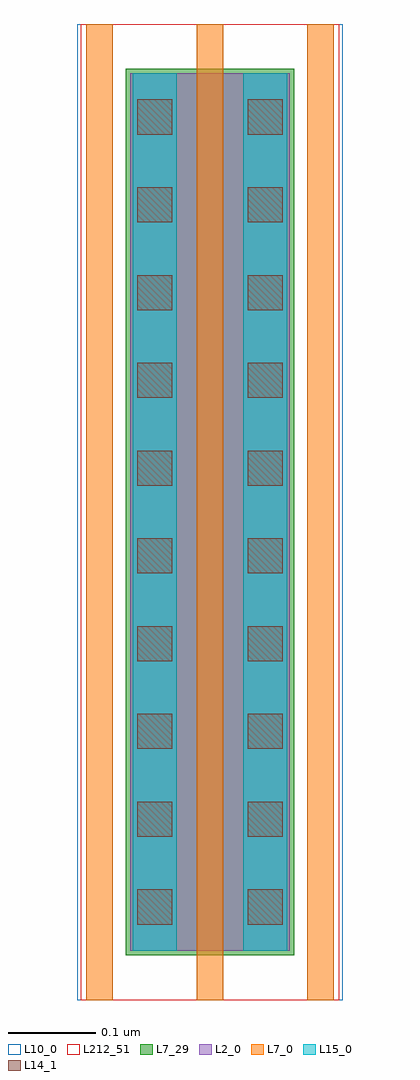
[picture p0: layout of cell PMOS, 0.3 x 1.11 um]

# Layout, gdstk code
import gdstk
lib = gdstk.Library(unit=1e-6, precision=1e-09)
def R(c, l, rs):  # rectangles x0, y0, x1, y1
    for r in rs: c.add(gdstk.rectangle(r[:2], r[2:], *l))
def A(c, l, x, y, w, h, nx, ny, dx, dy):  # array of equal rectangles
    R(c, l, [(x+i*dx, y+j*dy, x+i*dx+w, y+j*dy+h) for i in range(nx) for j in range(ny)])
L2_0 = (2, 0)
L7_0 = (7, 0)
L7_29 = (7, 29)
L10_0 = (10, 0)
L14_1 = (14, 1)
L15_0 = (15, 0)
L212_51 = (212, 51)

pmos = lib.new_cell('PMOS')
R(pmos, L2_0, [(-0.091,-0.5,0.091,0.5)])
A(pmos, L7_0, -0.141, -0.556, 0.03, 1.112, 3, 1, 0.126, 0)
R(pmos, L7_29, [(-0.096,-0.505,0.096,0.505)])
R(pmos, L10_0, [(-0.151,-0.556,0.151,0.556)])
A(pmos, L14_1, -0.083, -0.47, 0.04, 0.04, 1, 10, 0, 0.1)
A(pmos, L14_1, 0.043, -0.47, 0.04, 0.04, 1, 10, 0, 0.1)
R(pmos, L15_0, [(-0.088,-0.5,-0.038,0.5), (0.038,-0.5,0.088,0.5)])
R(pmos, L212_51, [(-0.147,-0.556,0.147,0.556)])

lib.write_gds('PMOS.gds')
